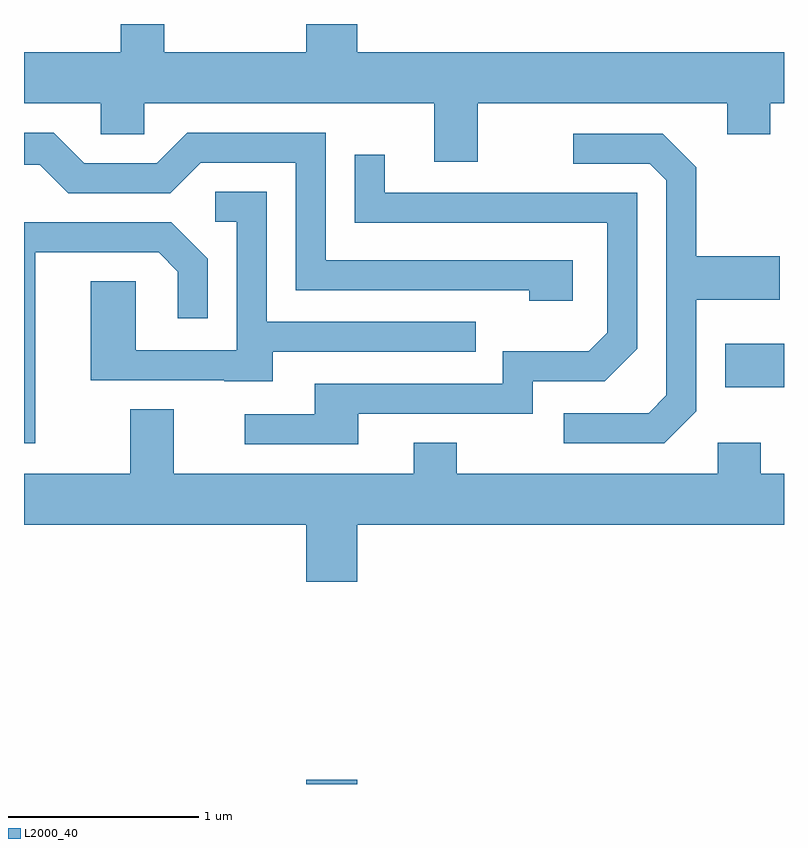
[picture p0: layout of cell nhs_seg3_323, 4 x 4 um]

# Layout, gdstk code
import gdstk
lib = gdstk.Library(unit=1e-6, precision=1e-09)
def R(c, l, rs):  # rectangles x0, y0, x1, y1
    for r in rs: c.add(gdstk.rectangle(r[:2], r[2:], *l))
def P(c, l, *ps):  # polygons
    for p in ps: c.add(gdstk.Polygon(p, *l))
L2000_40 = (2000, 40)

nhs_seg3_323 = lib.new_cell('nhs_seg3_323')
R(nhs_seg3_323, L2000_40, [(195.096,1217.892,195.364,1217.914), (197.301,1219.981,197.611,1220.209)])
P(nhs_seg3_323, L2000_40, [(195.999,1221.476),(197.311,1221.476),(197.311,1221.311),(197.539,1221.311),(197.539,1221.476),(197.611,1221.476),(197.611,1221.744),(195.364,1221.744),(195.364,1221.892),(195.096,1221.892),(195.096,1221.744),(194.349,1221.744),(194.349,1221.892),(194.121,1221.892),(194.121,1221.744),(193.611,1221.744),(193.611,1221.476),(194.016,1221.476),(194.016,1221.311),(194.244,1221.311),(194.244,1221.476),(195.771,1221.476),(195.771,1221.166),(195.999,1221.166)],
  [(196.499,1220.649),(195.199,1220.649),(195.199,1221.319),(194.469,1221.319),(194.309,1221.159),(193.927,1221.159),(193.767,1221.319),(193.611,1221.319),(193.611,1221.151),(193.694,1221.151),(193.844,1221.001),(194.382,1221.001),(194.542,1221.161),(195.041,1221.161),(195.041,1220.491),(196.271,1220.491),(196.271,1220.436),(196.499,1220.436)],
  [(197.149,1219.854),(197.149,1220.441),(197.589,1220.441),(197.589,1220.669),(197.149,1220.669),(197.149,1221.137),(196.972,1221.314),(196.503,1221.314),(196.503,1221.156),(196.904,1221.156),(196.991,1221.069),(196.991,1219.937),(196.899,1219.844),(196.453,1219.844),(196.453,1219.686),(196.982,1219.686)],
  [(195.369,1219.841),(196.289,1219.841),(196.289,1220.011),(196.667,1220.011),(196.839,1220.184),(196.839,1221.004),(195.509,1221.004),(195.509,1221.203),(195.351,1221.203),(195.351,1220.846),(196.681,1220.846),(196.681,1220.267),(196.584,1220.169),(196.131,1220.169),(196.131,1219.999),(195.141,1219.999),(195.141,1219.839),(194.773,1219.839),(194.773,1219.681),(195.369,1219.681)],
  [(194.919,1220.166),(195.988,1220.166),(195.988,1220.324),(194.889,1220.324),(194.889,1221.009),(194.618,1221.009),(194.618,1220.851),(194.731,1220.851),(194.731,1220.174),(194.199,1220.174),(194.199,1220.539),(193.961,1220.539),(193.961,1220.016),(194.665,1220.016),(194.665,1220.011),(194.919,1220.011)],
  [(193.669,1220.691),(194.319,1220.691),(194.421,1220.589),(194.421,1220.343),(194.579,1220.343),(194.579,1220.657),(194.387,1220.849),(193.611,1220.849),(193.611,1219.686),(193.669,1219.686)],
  [(195.364,1219.256),(197.611,1219.256),(197.611,1219.524),(197.489,1219.524),(197.489,1219.689),(197.261,1219.689),(197.261,1219.524),(195.889,1219.524),(195.889,1219.689),(195.661,1219.689),(195.661,1219.524),(194.399,1219.524),(194.399,1219.864),(194.171,1219.864),(194.171,1219.524),(193.611,1219.524),(193.611,1219.256),(195.096,1219.256),(195.096,1218.956),(195.364,1218.956)])

lib.write_gds('nhs_seg3_323.gds')
